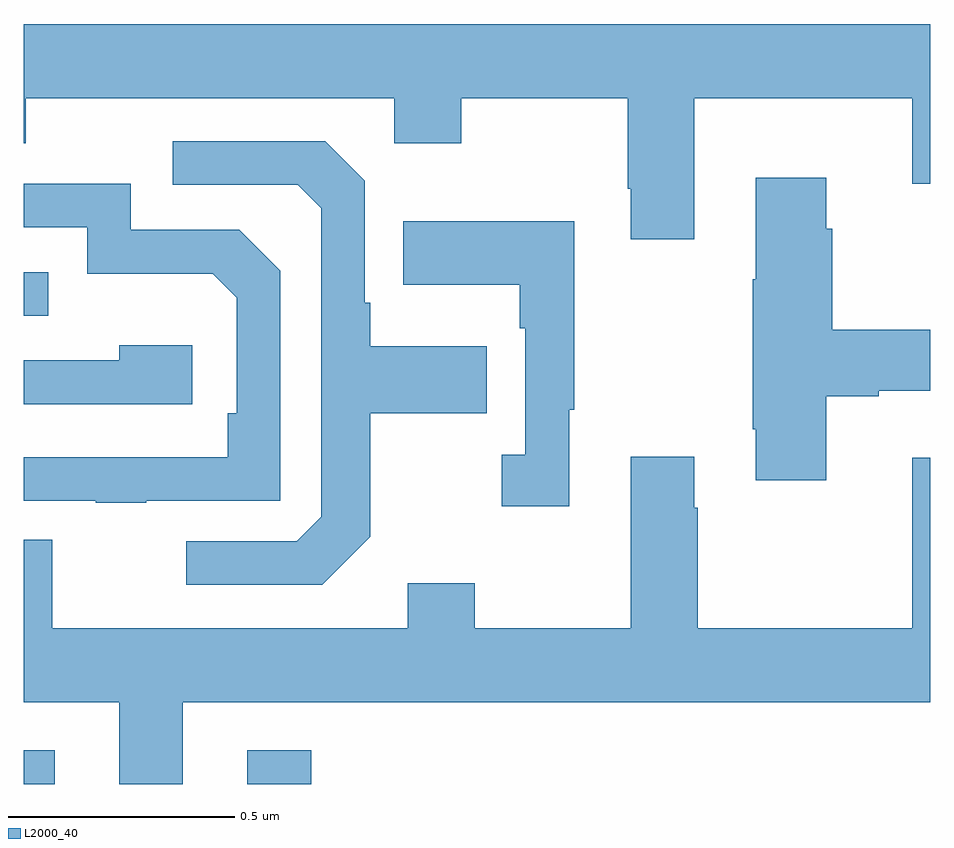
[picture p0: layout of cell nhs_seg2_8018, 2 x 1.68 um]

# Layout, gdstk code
import gdstk
lib = gdstk.Library(unit=1e-6, precision=1e-09)
def R(c, l, rs):  # rectangles x0, y0, x1, y1
    for r in rs: c.add(gdstk.rectangle(r[:2], r[2:], *l))
def P(c, l, *ps):  # polygons
    for p in ps: c.add(gdstk.Polygon(p, *l))
L2000_40 = (2000, 40)

nhs_seg2_8018 = lib.new_cell('nhs_seg2_8018')
R(nhs_seg2_8018, L2000_40, [(211,636.8,211.069,636.874), (211.493,636.8,211.634,636.874), (211,637.833,211.055,637.929)])
P(nhs_seg2_8018, L2000_40, [(212.479,638.312),(212.96,638.312),(212.96,638.124),(213,638.124),(213,638.476),(211,638.476),(211,638.213),(211.005,638.213),(211.005,638.312),(211.818,638.312),(211.818,638.213),(211.965,638.213),(211.965,638.312),(212.332,638.312),(212.332,638.113),(212.339,638.113),(212.339,638.001),(212.479,638.001)],
  [(211.765,637.345),(211.765,637.618),(212.021,637.618),(212.021,637.765),(211.765,637.765),(211.765,637.861),(211.752,637.861),(211.752,638.13),(211.665,638.217),(211.329,638.217),(211.329,638.121),(211.605,638.121),(211.656,638.07),(211.656,637.389),(211.602,637.335),(211.359,637.335),(211.359,637.239),(211.659,637.239)],
  [(212.77,637.655),(212.886,637.655),(212.886,637.667),(213,637.667),(213,637.802),(212.783,637.802),(212.783,638.024),(212.77,638.024),(212.77,638.137),(212.615,638.137),(212.615,637.913),(212.608,637.913),(212.608,637.582),(212.615,637.582),(212.615,637.47),(212.77,637.47)],
  [(211.271,637.425),(211.566,637.425),(211.566,637.932),(211.476,638.022),(211.236,638.022),(211.236,638.124),(211,638.124),(211,638.028),(211.14,638.028),(211.14,637.925),(211.417,637.925),(211.47,637.872),(211.47,637.618),(211.45,637.618),(211.45,637.521),(211,637.521),(211,637.425),(211.159,637.425),(211.159,637.42),(211.271,637.42)],
  [(212.203,637.625),(212.215,637.625),(212.215,638.041),(211.837,638.041),(211.837,637.901),(212.094,637.901),(212.094,637.805),(212.106,637.805),(212.106,637.526),(212.055,637.526),(212.055,637.413),(212.203,637.413)],
  [(211.372,637.768),(211.211,637.768),(211.211,637.734),(211,637.734),(211,637.638),(211.372,637.638)],
  [(211.351,636.98),(213,636.98),(213,637.519),(212.96,637.519),(212.96,637.144),(212.487,637.144),(212.487,637.409),(212.479,637.409),(212.479,637.522),(212.339,637.522),(212.339,637.144),(211.995,637.144),(211.995,637.243),(211.847,637.243),(211.847,637.144),(211.063,637.144),(211.063,637.339),(211,637.339),(211,636.98),(211.211,636.98),(211.211,636.8),(211.351,636.8)])

lib.write_gds('nhs_seg2_8018.gds')
